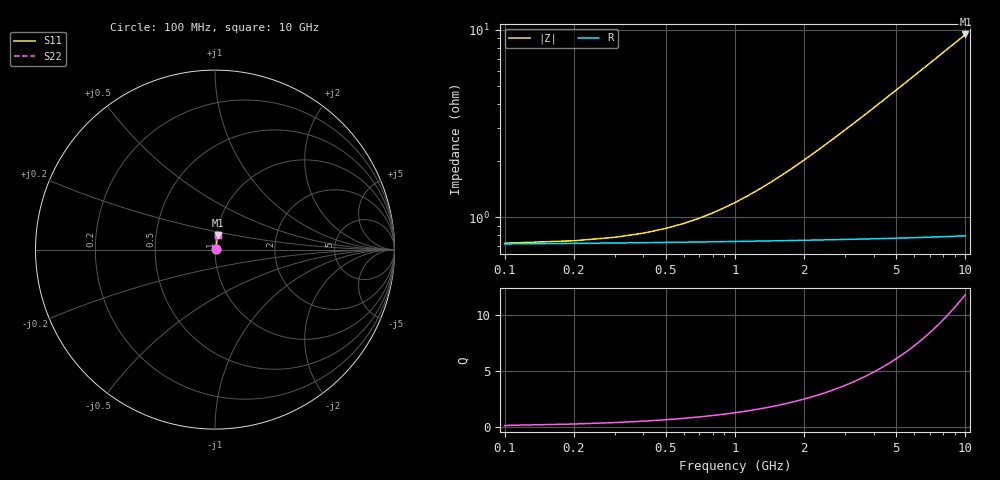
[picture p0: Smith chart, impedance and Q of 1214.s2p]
# Hz S RI R 50.00
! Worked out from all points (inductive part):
!   100 points, 100 MHz to 10 GHz, reference 50 ohm
!   read as one part in series: L = 149 pH near 2.5 GHz
!   highest Q = 11.8 at 10 GHz (marker M1), where L = 149 pH
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1e8  0.00714 0.000804  0.9929 -0.00104  0.9929 -0.00104  0.00714 0.000804
2e8  0.00718 0.00161  0.9928 -0.00209  0.9928 -0.00209  0.00718 0.00161
3e8  0.00722 0.00241  0.9928 -0.00313  0.9928 -0.00313  0.00722 0.00241
5e8  0.00729 0.00402  0.9927 -0.00522  0.9927 -0.00522  0.00729 0.00402
7e8  0.00735 0.00563  0.9926 -0.0073  0.9926 -0.0073  0.00735 0.00563
1.3e9  0.00753 0.0104  0.9925 -0.0136  0.9925 -0.0136  0.00753 0.0104
1.5e9  0.0076 0.0121  0.9924 -0.0156  0.9924 -0.0156  0.0076 0.0121
1.8e9  0.00771 0.0145  0.9923 -0.0188  0.9923 -0.0188  0.00771 0.0145
2.1e9  0.00784 0.0169  0.9921 -0.0219  0.9921 -0.0219  0.00784 0.0169
2.5e9  0.00803 0.0201  0.9919 -0.0261  0.9919 -0.0261  0.00803 0.0201
2.9e9  0.00824 0.0233  0.9917 -0.0302  0.9917 -0.0302  0.00824 0.0233
3.4e9  0.00854 0.0273  0.9914 -0.0354  0.9914 -0.0354  0.00854 0.0273
3.8e9  0.0088 0.0305  0.9911 -0.0396  0.9911 -0.0396  0.0088 0.0305
4.2e9  0.0091 0.0337  0.9908 -0.0438  0.9908 -0.0438  0.0091 0.0337
4.6e9  0.00941 0.0369  0.9905 -0.0479  0.9905 -0.0479  0.00941 0.0369
5.1e9  0.00985 0.0409  0.9901 -0.0531  0.9901 -0.0531  0.00985 0.0409
5.9e9  0.0106 0.0473  0.9893 -0.0614  0.9893 -0.0614  0.0106 0.0473
6.7e9  0.0115 0.0536  0.9883 -0.0697  0.9883 -0.0697  0.0115 0.0536
7.5e9  0.0125 0.06  0.9873 -0.078  0.9873 -0.078  0.0125 0.06
8.4e9  0.0137 0.0671  0.986 -0.0872  0.986 -0.0872  0.0137 0.0671
9.2e9  0.015 0.0734  0.9848 -0.0955  0.9848 -0.0955  0.015 0.0734
1e10  0.0163 0.0797  0.9834 -0.1037  0.9834 -0.1037  0.0163 0.0797
